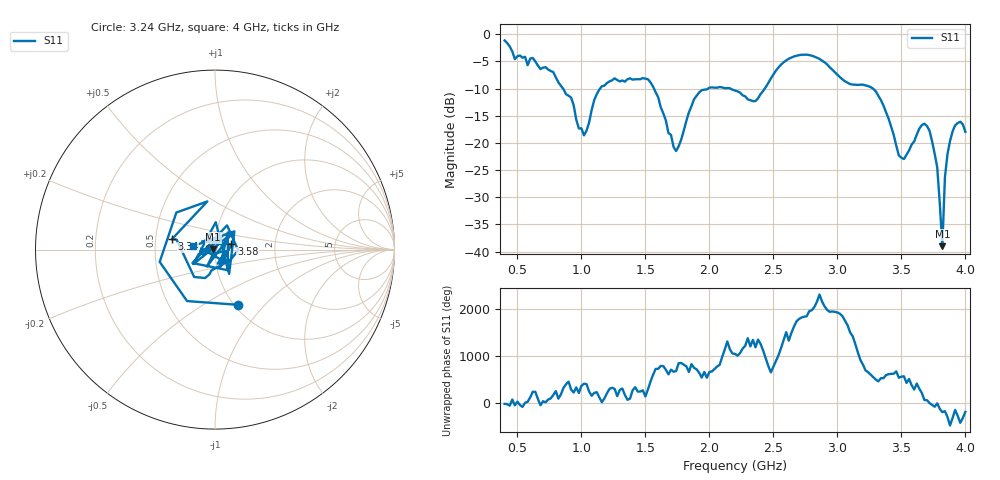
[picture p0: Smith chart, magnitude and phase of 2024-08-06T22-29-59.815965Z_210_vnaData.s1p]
!Created with skrf (http://scikit-rf.org).
# Hz S RI R 50.0
!freq ReS11 ImS11
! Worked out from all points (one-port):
!   181 points, 400 MHz to 4 GHz, reference 50 ohm
!   lowest |S11| = -39.0 dB at 3.82 GHz (marker M1), VSWR 1.02, Z = 48.9 + j0.263 ohm
!   |S11| at or under -10 dB: 856.9 MHz to 1.146 GHz (288.8 MHz wide, 28.8 % of centre); 1.567 GHz to 1.989 GHz (422 MHz wide, 23.7 % of centre); 3.279 GHz to end of sweep (the widest 3 of 4)
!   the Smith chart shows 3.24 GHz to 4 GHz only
!   S11 on the Smith chart (normalised r, x): 3.24 GHz: 1.04, -0.72; 3.34 GHz: 0.61, +0.07; 3.58 GHz: 1.20, +0.07; 4 GHz: 0.78, +0.03
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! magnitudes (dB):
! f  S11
! 400 MHz  -1.1
! 480 MHz  -4.6
! 620 MHz  -4.4
! 860 MHz  -10.1
! 1.02 GHz  -18.6
! 1.14 GHz  -10.2
! 1.3 GHz  -8.7
! 1.52 GHz  -8.3
! 1.72 GHz  -20.7
! 1.76 GHz  -20.6
! 1.92 GHz  -10.7
! 2.2 GHz  -10.4
! 2.36 GHz  -12.3
! 2.66 GHz  -4.1
! 3.1 GHz  -9.2
! 3.24 GHz  -9.5
! 3.34 GHz  -12.1
! 3.48 GHz  -22.3
! 3.56 GHz  -21.4
! 3.58 GHz  -20.3
! 3.66 GHz  -16.7
! 3.72 GHz  -17.8
! 3.78 GHz  -24.5
! 3.82 GHz  -39.0
! 3.84 GHz  -26.4
! 3.88 GHz  -19.6
! 3.94 GHz  -16.3
! 4 GHz  -18.0
